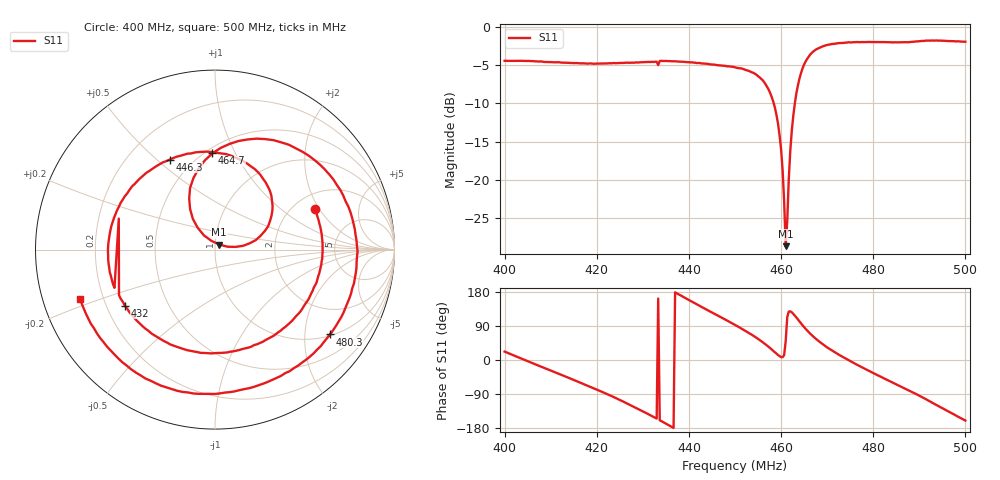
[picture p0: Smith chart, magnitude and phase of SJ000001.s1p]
!File created by NanoVNA-F V2
# Hz S RI R 50
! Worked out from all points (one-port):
!   301 points, 400 MHz to 500 MHz, reference 50 ohm
!   lowest |S11| = -28.7 dB at 461 MHz (marker M1), VSWR 1.08, Z = 52.4 + j2.93 ohm
!   |S11| at or under -10 dB: 458.4 MHz to 463 MHz (4.578 MHz wide, 0.994 % of centre)
!   S11 on the Smith chart (normalised r, x): 400 MHz: 2.57, +1.82; 432 MHz: 0.28, -0.27; 446.3 MHz: 0.38, +0.55; 464.7 MHz: 0.54, +0.82; 480.3 MHz: 1.04, -2.68; 500 MHz: 0.11, -0.18
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4e8  0.5559 0.2268
4.06e8  0.5924 -0.0833
4.126667e8  0.441 -0.3831
4.186666e8  0.1866 -0.546
4.25e8  -0.156 -0.5604
4.32e8  -0.5025 -0.3126
4.33e8  -0.5348 -0.2539
4.333333e8  -0.5361 0.1727
4.336666e8  -0.5601 -0.2127
4.376666e8  -0.5903 0.0618
4.413333e8  -0.5034 0.296
4.463333e8  -0.2529 0.5015
4.5e8  -0.0245 0.5439
4.539999e8  0.2203 0.4497
4.583333e8  0.2956 0.1294
4.599999e8  0.1569 0.0212
4.606666e8  0.0702 0.0162
4.609999e8  0.0239 0.0279
4.619999e8  -0.0962 0.1213
4.626666e8  -0.1386 0.2257
4.646666e8  -0.0142 0.5367
4.669999e8  0.327 0.6094
4.699999e8  0.638 0.4171
4.749999e8  0.7913 -0.0391
4.803333e8  0.6407 -0.4729
4.876666e8  0.1359 -0.7832
4.936666e8  -0.3873 -0.7183
4.999999e8  -0.7514 -0.2768
